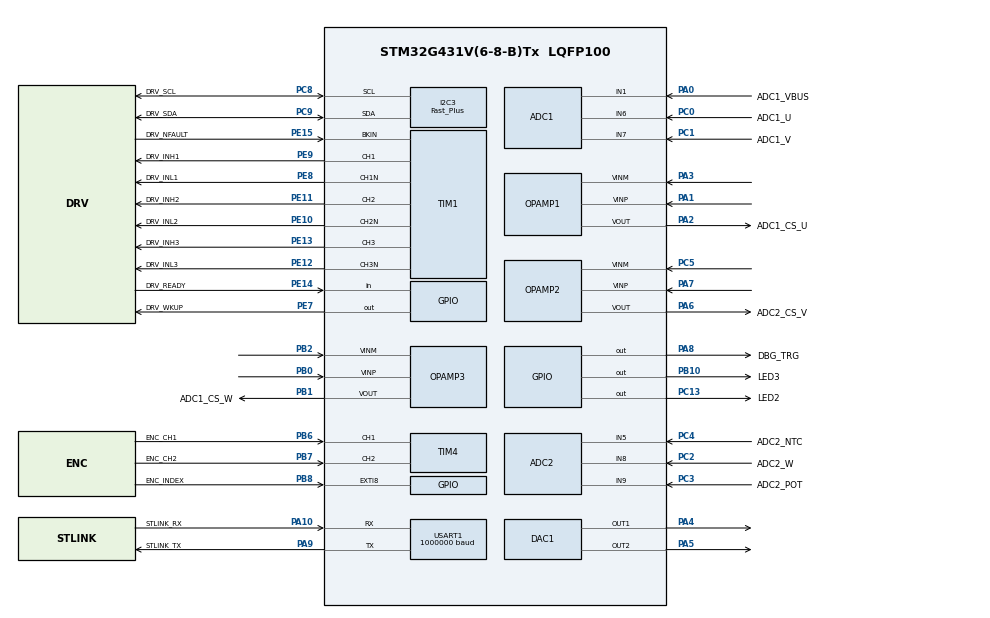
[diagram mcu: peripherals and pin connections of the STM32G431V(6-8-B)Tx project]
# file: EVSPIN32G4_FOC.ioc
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ADC1.AWD1ITMode=ENABLE
ADC1.Channel-0\#ChannelRegularConversion=ADC_CHANNEL_1
ADC1.Channel-1\#ChannelRegularConversion=ADC_CHANNEL_6
ADC1.Channel-2\#ChannelRegularConversion=ADC_CHANNEL_7
ADC1.Channel-5\#ChannelRegularConversion=ADC_CHANNEL_VREFINT
ADC1.ContinuousConvMode=ENABLE
ADC1.EnableAnalogWatchDog1=true
ADC1.EnableInjectedConversion=ENABLE
ADC1.ExternalTrigInjecConv=ADC_EXTERNALTRIGINJEC_T1_CC4
ADC1.InjNumberOfConversion=2
ADC1.InjectedChannel-3\#ChannelInjectedConversion=ADC_CHANNEL_3
ADC1.InjectedChannel-4\#ChannelInjectedConversion=ADC_CHANNEL_12
ADC1.InjectedOffsetNumber-3\#ChannelInjectedConversion=ADC_OFFSET_NONE
ADC1.InjectedOffsetNumber-4\#ChannelInjectedConversion=ADC_OFFSET_NONE
ADC1.InjectedRank-3\#ChannelInjectedConversion=1
ADC1.InjectedRank-4\#ChannelInjectedConversion=2
ADC1.InjectedSamplingTime-3\#ChannelInjectedConversion=ADC_SAMPLETIME_24CYCLES_5
ADC1.InjectedSamplingTime-4\#ChannelInjectedConversion=ADC_SAMPLETIME_24CYCLES_5
ADC1.NbrOfConversion=4
ADC1.NbrOfConversionFlag=1
ADC1.OffsetNumber-0\#ChannelRegularConversion=ADC_OFFSET_NONE
ADC1.OffsetNumber-1\#ChannelRegularConversion=ADC_OFFSET_NONE
ADC1.OffsetNumber-2\#ChannelRegularConversion=ADC_OFFSET_NONE
ADC1.OffsetNumber-5\#ChannelRegularConversion=ADC_OFFSET_NONE
ADC1.Overrun=ADC_OVR_DATA_OVERWRITTEN
ADC1.Rank-0\#ChannelRegularConversion=1
ADC1.Rank-1\#ChannelRegularConversion=2
ADC1.Rank-2\#ChannelRegularConversion=3
ADC1.Rank-5\#ChannelRegularConversion=4
ADC1.SamplingTime-0\#ChannelRegularConversion=ADC_SAMPLETIME_24CYCLES_5
ADC1.SamplingTime-1\#ChannelRegularConversion=ADC_SAMPLETIME_24CYCLES_5
ADC1.SamplingTime-2\#ChannelRegularConversion=ADC_SAMPLETIME_24CYCLES_5
ADC1.SamplingTime-5\#ChannelRegularConversion=ADC_SAMPLETIME_247CYCLES_5
ADC1.WatchdogChannel=ADC_CHANNEL_1
ADC1.master=1
ADC2.Channel-0\#ChannelRegularConversion=ADC_CHANNEL_5
ADC2.Channel-1\#ChannelRegularConversion=ADC_CHANNEL_8
ADC2.Channel-2\#ChannelRegularConversion=ADC_CHANNEL_9
ADC2.ContinuousConvMode=ENABLE
ADC2.EnableInjectedConversion=ENABLE
ADC2.InjNumberOfConversion=1
ADC2.InjectedChannel-3\#ChannelInjectedConversion=ADC_CHANNEL_3
ADC2.InjectedOffsetNumber-3\#ChannelInjectedConversion=ADC_OFFSET_NONE
ADC2.InjectedRank-3\#ChannelInjectedConversion=1
ADC2.InjectedSamplingTime-3\#ChannelInjectedConversion=ADC_SAMPLETIME_24CYCLES_5
ADC2.NbrOfConversion=3
ADC2.NbrOfConversionFlag=1
ADC2.OffsetNumber-0\#ChannelRegularConversion=ADC_OFFSET_NONE
ADC2.OffsetNumber-1\#ChannelRegularConversion=ADC_OFFSET_NONE
ADC2.OffsetNumber-2\#ChannelRegularConversion=ADC_OFFSET_NONE
ADC2.Overrun=ADC_OVR_DATA_OVERWRITTEN
ADC2.Rank-0\#ChannelRegularConversion=1
ADC2.Rank-1\#ChannelRegularConversion=2
ADC2.Rank-2\#ChannelRegularConversion=3
ADC2.Rank1_Channel=ADC_CHANNEL_3
ADC2.SamplingTime-0\#ChannelRegularConversion=ADC_SAMPLETIME_24CYCLES_5
ADC2.SamplingTime-1\#ChannelRegularConversion=ADC_SAMPLETIME_24CYCLES_5
ADC2.SamplingTime-2\#ChannelRegularConversion=ADC_SAMPLETIME_24CYCLES_5
DAC1.DAC_Channel-DAC_OUT2=DAC_CHANNEL_2
DAC1.DAC_SignedFormat-DAC_OUT1=ENABLE
DAC1.DAC_SignedFormat-DAC_OUT2=ENABLE
DAC1.DAC_Trigger2_OUT1-DAC_OUT1=DAC_TRIGGER_NONE
DAC1.DAC_Trigger_OUT1-DAC_OUT1=DAC_TRIGGER_NONE
DAC1.DAC_Trigger_OUT2-DAC_OUT2=DAC_TRIGGER_NONE
Dma.ADC1.0.Direction=DMA_PERIPH_TO_MEMORY
Dma.ADC1.0.EventEnable=DISABLE
Dma.ADC1.0.Instance=DMA1_Channel1
Dma.ADC1.0.MemDataAlignment=DMA_MDATAALIGN_HALFWORD
Dma.ADC1.0.MemInc=DMA_MINC_ENABLE
Dma.ADC1.0.Mode=DMA_NORMAL
Dma.ADC1.0.PeriphDataAlignment=DMA_PDATAALIGN_HALFWORD
Dma.ADC1.0.PeriphInc=DMA_PINC_DISABLE
Dma.ADC1.0.Polarity=HAL_DMAMUX_REQ_GEN_RISING
Dma.ADC1.0.Priority=DMA_PRIORITY_LOW
Dma.ADC1.0.RequestNumber=1
Dma.ADC1.0.SignalID=NONE
Dma.ADC1.0.SyncEnable=DISABLE
Dma.ADC1.0.SyncPolarity=HAL_DMAMUX_SYNC_NO_EVENT
Dma.ADC1.0.SyncRequestNumber=1
Dma.ADC1.0.SyncSignalID=NONE
Dma.ADC2.1.Direction=DMA_PERIPH_TO_MEMORY
Dma.ADC2.1.EventEnable=DISABLE
Dma.ADC2.1.Instance=DMA1_Channel2
Dma.ADC2.1.MemDataAlignment=DMA_MDATAALIGN_HALFWORD
Dma.ADC2.1.MemInc=DMA_MINC_ENABLE
Dma.ADC2.1.Mode=DMA_NORMAL
Dma.ADC2.1.PeriphDataAlignment=DMA_PDATAALIGN_HALFWORD
Dma.ADC2.1.PeriphInc=DMA_PINC_DISABLE
Dma.ADC2.1.Polarity=HAL_DMAMUX_REQ_GEN_RISING
Dma.ADC2.1.Priority=DMA_PRIORITY_LOW
Dma.ADC2.1.RequestNumber=1
Dma.ADC2.1.SignalID=NONE
Dma.ADC2.1.SyncEnable=DISABLE
Dma.ADC2.1.SyncPolarity=HAL_DMAMUX_SYNC_NO_EVENT
Dma.ADC2.1.SyncRequestNumber=1
Dma.ADC2.1.SyncSignalID=NONE
Dma.Request0=ADC1
Dma.Request1=ADC2
Dma.Request2=TIM6_UP
Dma.Request3=TIM7_UP
Dma.TIM6_UP.2.Direction=DMA_MEMORY_TO_PERIPH
Dma.TIM6_UP.2.EventEnable=DISABLE
Dma.TIM6_UP.2.Instance=DMA1_Channel3
Dma.TIM6_UP.2.MemDataAlignment=DMA_MDATAALIGN_HALFWORD
Dma.TIM6_UP.2.MemInc=DMA_MINC_DISABLE
Dma.TIM6_UP.2.Mode=DMA_CIRCULAR
Dma.TIM6_UP.2.PeriphDataAlignment=DMA_PDATAALIGN_WORD
Dma.TIM6_UP.2.PeriphInc=DMA_PINC_DISABLE
Dma.TIM6_UP.2.Polarity=HAL_DMAMUX_REQ_GEN_RISING
Dma.TIM6_UP.2.Priority=DMA_PRIORITY_MEDIUM
Dma.TIM6_UP.2.RequestNumber=1
Dma.TIM6_UP.2.SignalID=NONE
Dma.TIM6_UP.2.SyncEnable=DISABLE
Dma.TIM6_UP.2.SyncPolarity=HAL_DMAMUX_SYNC_NO_EVENT
Dma.TIM6_UP.2.SyncRequestNumber=1
Dma.TIM6_UP.2.SyncSignalID=NONE
Dma.TIM7_UP.3.Direction=DMA_MEMORY_TO_PERIPH
Dma.TIM7_UP.3.EventEnable=DISABLE
Dma.TIM7_UP.3.Instance=DMA1_Channel4
Dma.TIM7_UP.3.MemDataAlignment=DMA_MDATAALIGN_HALFWORD
Dma.TIM7_UP.3.MemInc=DMA_MINC_DISABLE
Dma.TIM7_UP.3.Mode=DMA_CIRCULAR
Dma.TIM7_UP.3.PeriphDataAlignment=DMA_PDATAALIGN_WORD
Dma.TIM7_UP.3.PeriphInc=DMA_PINC_DISABLE
Dma.TIM7_UP.3.Polarity=HAL_DMAMUX_REQ_GEN_RISING
Dma.TIM7_UP.3.Priority=DMA_PRIORITY_MEDIUM
Dma.TIM7_UP.3.RequestNumber=1
Dma.TIM7_UP.3.SignalID=NONE
Dma.TIM7_UP.3.SyncEnable=DISABLE
Dma.TIM7_UP.3.SyncPolarity=HAL_DMAMUX_SYNC_NO_EVENT
Dma.TIM7_UP.3.SyncRequestNumber=1
Dma.TIM7_UP.3.SyncSignalID=NONE
I2C3.I2C_Speed_Mode=I2C_Fast_Plus
I2C3.Timing=0x00802172
Mcu.Family=STM32G4
Mcu.Name=STM32G431V(6-8-B)Tx
Mcu.Package=LQFP100
NVIC.DMA1_Channel1_IRQn=true\:0\:0\:false\:false\:true\:false\:true\:true
NVIC.DMA1_Channel2_IRQn=true\:0\:0\:false\:false\:true\:false\:true\:true
NVIC.DMA1_Channel3_IRQn=true\:0\:0\:false\:false\:true\:false\:true\:true
NVIC.DMA1_Channel4_IRQn=true\:0\:0\:false\:false\:true\:false\:true\:true
NVIC.PriorityGroup=NVIC_PRIORITYGROUP_4
PA0.GPIO_Label=ADC1_VBUS
PA0.Mode=IN1-Single-Ended
PA0.Signal=ADC1_IN1
PA1.Mode=Standalone
PA1.Signal=OPAMP1_VINP
PA10.GPIO_Label=STLINK_RX
PA10.Mode=Asynchronous
PA10.Signal=USART1_RX
PA13.GPIO_Label=DBG_SWDIO
PA13.Mode=Trace_Asynchronous_SW
PA13.Signal=SYS_JTMS-SWDIO
PA14.GPIO_Label=DBG_SWCLK
PA14.Mode=Trace_Asynchronous_SW
PA14.Signal=SYS_JTCK-SWCLK
PA2.GPIO_Label=ADC1_CS_U
PA2.Signal=SharedAnalog_PA2
PA3.Mode=Standalone
PA3.Signal=OPAMP1_VINM
PA4.Signal=COMP_DAC11_group
PA5.Signal=COMP_DAC12_group
PA6.GPIO_Label=ADC2_CS_V
PA6.Signal=SharedAnalog_PA6
PA7.Mode=Standalone
PA7.Signal=OPAMP2_VINP
PA8.GPIO_Label=DBG_TRG
PA8.GPIO_Speed=GPIO_SPEED_FREQ_VERY_HIGH
PA8.Signal=GPIO_Output
PA9.GPIO_Label=STLINK_TX
PA9.Mode=Asynchronous
PA9.Signal=USART1_TX
PB0.Mode=Standalone
PB0.Signal=OPAMP3_VINP
PB1.GPIO_Label=ADC1_CS_W
PB1.Signal=SharedAnalog_PB1
PB10.GPIO_Label=LED3
PB10.Signal=GPIO_Output
PB2.Mode=Standalone
PB2.Signal=OPAMP3_VINM
PB3.GPIO_Label=DBG_SWO
PB3.Mode=Trace_Asynchronous_SW
PB3.Signal=SYS_JTDO-SWO
PB6.GPIO_Label=ENC_CH1
PB6.Signal=S_TIM4_CH1
PB7.GPIO_Label=ENC_CH2
PB7.Signal=S_TIM4_CH2
PB8-BOOT0.GPIO_Label=ENC_INDEX
PB8-BOOT0.Signal=GPXTI8
PC0.GPIO_Label=ADC1_U
PC0.Mode=IN6-Single-Ended
PC0.Signal=ADC1_IN6
PC1.GPIO_Label=ADC1_V
PC1.Mode=IN7-Single-Ended
PC1.Signal=ADC1_IN7
PC13.GPIO_Label=LED2
PC13.Signal=GPIO_Output
PC2.GPIO_Label=ADC2_W
PC2.Mode=IN8-Single-Ended
PC2.Signal=ADC2_IN8
PC3.GPIO_Label=ADC2_POT
PC3.Mode=IN9-Single-Ended
PC3.Signal=ADC2_IN9
PC4.GPIO_Label=ADC2_NTC
PC4.Mode=IN5-Single-Ended
PC4.Signal=ADC2_IN5
PC5.Mode=Standalone
PC5.Signal=OPAMP2_VINM
PC8.GPIO_Label=DRV_SCL
PC8.Mode=I2C
PC8.Signal=I2C3_SCL
PC9.GPIO_Label=DRV_SDA
PC9.Mode=I2C
PC9.Signal=I2C3_SDA
PE10.GPIO_Label=DRV_INL2
PE10.Mode=PWM Generation2 CH2 CH2N
PE10.Signal=TIM1_CH2N
PE11.GPIO_Label=DRV_INH2
PE11.Signal=S_TIM1_CH2
PE12.GPIO_Label=DRV_INL3
PE12.Mode=PWM Generation3 CH3 CH3N
PE12.Signal=TIM1_CH3N
PE13.GPIO_Label=DRV_INH3
PE13.Signal=S_TIM1_CH3
PE14.GPIO_Label=DRV_READY
PE14.GPIO_PuPd=GPIO_PULLUP
PE14.Signal=GPIO_Input
PE15.GPIO_Label=DRV_NFAULT
PE15.GPIO_PuPd=GPIO_PULLUP
PE15.Mode=Activate-Break-Input
PE15.Signal=TIM1_BKIN
PE7.GPIO_Label=DRV_WKUP
PE7.PinState=GPIO_PIN_SET
PE7.Signal=GPIO_Output
PE8.GPIO_Label=DRV_INL1
PE8.Mode=PWM Generation1 CH1 CH1N
PE8.Signal=TIM1_CH1N
PE9.GPIO_Label=DRV_INH1
PE9.Signal=S_TIM1_CH1
PF0-OSC_IN.Mode=HSE-External-Oscillator
PF0-OSC_IN.Signal=RCC_OSC_IN
PF1-OSC_OUT.Mode=HSE-External-Oscillator
PF1-OSC_OUT.Signal=RCC_OSC_OUT
ProjectManager.HeapSize=0x200
ProjectManager.StackSize=0x400
ProjectManager.TargetToolchain=STM32CubeIDE
RCC.ADC12Freq_Value=170000000
RCC.AHBFreq_Value=170000000
RCC.APB1Freq_Value=170000000
RCC.APB1TimFreq_Value=170000000
RCC.APB2Freq_Value=170000000
RCC.APB2TimFreq_Value=170000000
RCC.CortexFreq_Value=170000000
RCC.EXTERNAL_CLOCK_VALUE=12288000
RCC.HCLKFreq_Value=170000000
RCC.HSE_VALUE=24000000
RCC.HSI48_VALUE=48000000
RCC.HSI_VALUE=16000000
RCC.LSE_VALUE=32768
RCC.PLLM=RCC_PLLM_DIV6
RCC.PLLN=85
RCC.PLLSourceVirtual=RCC_PLLSOURCE_HSE
RCC.SYSCLKFreq_VALUE=170000000
RCC.SYSCLKSource=RCC_SYSCLKSOURCE_PLLCLK
RCC.USBFreq_Value=170000000
RCC.VCOOutputFreq_Value=340000000
SH.COMP_DAC11_group.0=DAC1_OUT1,DAC_OUT1
SH.COMP_DAC12_group.0=DAC1_OUT2,DAC_OUT2
SH.S_TIM1_CH1.0=TIM1_CH1,PWM Generation1 CH1 CH1N
SH.S_TIM1_CH2.0=TIM1_CH2,PWM Generation2 CH2 CH2N
SH.S_TIM1_CH3.0=TIM1_CH3,PWM Generation3 CH3 CH3N
SH.S_TIM4_CH1.0=TIM4_CH1,Encoder_Interface
SH.S_TIM4_CH2.0=TIM4_CH2,Encoder_Interface
SH.SharedAnalog_PA2.0=OPAMP1_VOUT,Standalone
SH.SharedAnalog_PA2.1=ADC1_IN3,IN3-Single-Ended
SH.SharedAnalog_PA6.0=OPAMP2_VOUT,Standalone
SH.SharedAnalog_PA6.1=ADC2_IN3,IN3-Single-Ended
SH.SharedAnalog_PB1.0=OPAMP3_VOUT,Standalone
SH.SharedAnalog_PB1.1=ADC1_IN12,IN12-Single-Ended
TIM1.AutoReloadPreload=TIM_AUTORELOAD_PRELOAD_ENABLE
TIM1.Break2Polarity=TIM_BREAK2POLARITY_LOW
TIM1.BreakFilter=2
TIM1.BreakPolarity=TIM_BREAKPOLARITY_LOW
TIM1.Channel-PWM\ Generation1\ CH1\ CH1N=TIM_CHANNEL_1
TIM1.Channel-PWM\ Generation2\ CH2\ CH2N=TIM_CHANNEL_2
TIM1.Channel-PWM\ Generation3\ CH3\ CH3N=TIM_CHANNEL_3
TIM1.Channel-PWM\ Generation4\ No\ Output=TIM_CHANNEL_4
TIM1.CounterMode=TIM_COUNTERMODE_CENTERALIGNED1
TIM1.SourceBRKDigInput=TIM_BREAKINPUTSOURCE_DISABLE
TIM1.TIM_MasterOutputTrigger=TIM_TRGO_RESET
TIM6.PeriodNoDither=169
TIM6.Prescaler=0
TIM7.PeriodNoDither=169
TIM7.Prescaler=0
USART1.BaudRate=1000000
USART1.VirtualMode-Asynchronous=VM_ASYNC
VP_ADC1_Vref_Input.Mode=IN-Vrefint
VP_SYS_VS_DBSignals.Mode=DisableDeadBatterySignals
VP_TIM1_VS_no_output4.Mode=PWM Generation4 No Output
VP_TIM6_VS_ClockSourceINT.Mode=Enable_Timer
VP_TIM7_VS_ClockSourceINT.Mode=Enable_Timer
VP_WWDG_VS_WWDG.Mode=WWDG_Activate
WWDG.Counter=95
WWDG.EWIMode=WWDG_EWI_ENABLE
WWDG.Prescaler=WWDG_PRESCALER_1
WWDG.Window=64
board=custom

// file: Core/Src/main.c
/* USER CODE BEGIN Header */
/**
  ******************************************************************************
  * @file           : main.c
  * @brief          : Main program body
  ******************************************************************************
  * @attention
  *
  * Copyright (c) 2024 STMicroelectronics.
  * All rights reserved.
  *
  * This software is licensed under terms that can be found in the LICENSE file
  * in the root directory of this software component.
  * If no LICENSE file comes with this software, it is provided AS-IS.
  *
  ******************************************************************************
  */
/* USER CODE END Header */
#include "main.h"

/* USER CODE BEGIN Includes */
#include <stdbool.h>
#include "foc_motorcontrol.h"

#include "swo_debug.h"
/* USER CODE END Includes */

ADC_HandleTypeDef hadc1;
ADC_HandleTypeDef hadc2;
DMA_HandleTypeDef hdma_adc1;
DMA_HandleTypeDef hdma_adc2;

DAC_HandleTypeDef hdac1;

I2C_HandleTypeDef hi2c3;

OPAMP_HandleTypeDef hopamp1;
OPAMP_HandleTypeDef hopamp2;
OPAMP_HandleTypeDef hopamp3;

TIM_HandleTypeDef htim6;
TIM_HandleTypeDef htim7;
DMA_HandleTypeDef hdma_tim6_up;
DMA_HandleTypeDef hdma_tim7_up;

UART_HandleTypeDef huart1;

/* USER CODE BEGIN PV */
Board_Settings_t evspin = {0};

bool start = false, stop = false;
/* USER CODE END PV */

void SystemClock_Config(void);
static void MX_GPIO_Init(void);
static void MX_DMA_Init(void);
static void MX_I2C3_Init(void);
static void MX_TIM1_Init(void);
static void MX_USART1_UART_Init(void);
static void MX_ADC1_Init(void);
static void MX_ADC2_Init(void);
static void MX_OPAMP1_Init(void);
static void MX_OPAMP2_Init(void);
static void MX_OPAMP3_Init(void);
static void MX_TIM4_Init(void);
static void MX_DAC1_Init(void);
static void MX_TIM6_Init(void);
static void MX_TIM7_Init(void);

/* USER CODE BEGIN 0 */

//#include "dsp/controller_functions.h"
/* USER CODE END 0 */

int main(void)
{

  /* MCU Configuration--------------------------------------------------------*/

  /* Reset of all peripherals, Initializes the Flash interface and the Systick. */
  HAL_Init();

  /* Configure the system clock */
  SystemClock_Config();

  /* Initialize all configured peripherals */
  MX_GPIO_Init();
  MX_DMA_Init();
  MX_I2C3_Init();
  MX_TIM1_Init();
  MX_USART1_UART_Init();
  MX_ADC1_Init();
  MX_ADC2_Init();
  MX_OPAMP1_Init();
  MX_OPAMP2_Init();
  MX_OPAMP3_Init();
  MX_TIM4_Init();
  MX_DAC1_Init();
  MX_TIM6_Init();
  MX_TIM7_Init();
  /* USER CODE BEGIN 2 */
  DEBUG_print("--- SWO init\r\n");
  HAL_GPIO_WritePin(LED2_GPIO_Port, LED2_Pin, GPIO_PIN_SET);
  DEBUG_print("STSPIN32G4 initialized!\r\n");

  // init board
  EVSPIN32G4_AssignADCs(&hadc1, &hdma_adc1, &hadc2, &hdma_adc2);
  EVSPIN32G4_AssignOPAMPs(&hopamp1, &hopamp2, &hopamp3);
  EVSPIN32G4_Init();

  // DEBUG DAC settings
  HAL_DAC_Start(&hdac1, DAC_CHANNEL_1);
  HAL_DAC_Start(&hdac1, DAC_CHANNEL_2);
  HAL_DMA_Start(&hdma_tim6_up, (uint32_t)&(evspin.dbg.dac1), (uint32_t)&DAC1->DHR12R1, 1);
  HAL_DMA_Start(&hdma_tim7_up, (uint32_t)&(evspin.dbg.dac2), (uint32_t)&DAC1->DHR12R2, 1);
  __HAL_TIM_ENABLE_DMA(&htim6, TIM_DMA_UPDATE);
  __HAL_TIM_ENABLE_DMA(&htim7, TIM_DMA_UPDATE);
  HAL_TIM_Base_Start(&htim6);
  HAL_TIM_Base_Start(&htim7);

  /* USER CODE END 2 */

  /* Infinite loop */
  /* USER CODE BEGIN WHILE */
  while (1)
  {
    if(start == true && (evspin.state == STATE_IDLE || evspin.state == STATE_ERROR)) {
      start = false;

      FOC_Start();
    }

    if(stop == true) {
      stop = false;

      FOC_Stop();
    }
    /* USER CODE END WHILE */

  }
}

void SystemClock_Config(void)
{
  LL_FLASH_SetLatency(LL_FLASH_LATENCY_4);
  while(LL_FLASH_GetLatency() != LL_FLASH_LATENCY_4)
  {
  }
  LL_PWR_EnableRange1BoostMode();
  LL_RCC_HSE_Enable();
   /* Wait till HSE is ready */
  while(LL_RCC_HSE_IsReady() != 1)
  {
  }

  LL_RCC_PLL_ConfigDomain_SYS(LL_RCC_PLLSOURCE_HSE, LL_RCC_PLLM_DIV_6, 85, LL_RCC_PLLR_DIV_2);
  LL_RCC_PLL_EnableDomain_SYS();
  LL_RCC_PLL_Enable();
   /* Wait till PLL is ready */
  while(LL_RCC_PLL_IsReady() != 1)
  {
  }

  LL_RCC_SetSysClkSource(LL_RCC_SYS_CLKSOURCE_PLL);
  LL_RCC_SetAHBPrescaler(LL_RCC_SYSCLK_DIV_2);
   /* Wait till System clock is ready */
  while(LL_RCC_GetSysClkSource() != LL_RCC_SYS_CLKSOURCE_STATUS_PLL)
  {
  }

  /* Insure 1us transition state at intermediate medium speed clock*/
  for (__IO uint32_t i = (170 >> 1); i !=0; i--);

  /* Set AHB prescaler*/
  LL_RCC_SetAHBPrescaler(LL_RCC_SYSCLK_DIV_1);
  LL_RCC_SetAPB1Prescaler(LL_RCC_APB1_DIV_1);
  LL_RCC_SetAPB2Prescaler(LL_RCC_APB2_DIV_1);
  LL_SetSystemCoreClock(170000000);

   /* Update the time base */
  if (HAL_InitTick (TICK_INT_PRIORITY) != HAL_OK)
  {
    Error_Handler();
  }
}

static void MX_ADC1_Init(void)
{

  ADC_MultiModeTypeDef multimode = {0};
  ADC_AnalogWDGConfTypeDef AnalogWDGConfig = {0};
  ADC_ChannelConfTypeDef sConfig = {0};
  ADC_InjectionConfTypeDef sConfigInjected = {0};

  /** Common config
  */
  hadc1.Instance = ADC1;
  hadc1.Init.ClockPrescaler = ADC_CLOCK_SYNC_PCLK_DIV4;
  hadc1.Init.Resolution = ADC_RESOLUTION_12B;
  hadc1.Init.DataAlign = ADC_DATAALIGN_RIGHT;
  hadc1.Init.GainCompensation = 0;
  hadc1.Init.ScanConvMode = ADC_SCAN_ENABLE;
  hadc1.Init.EOCSelection = ADC_EOC_SINGLE_CONV;
  hadc1.Init.LowPowerAutoWait = DISABLE;
  hadc1.Init.ContinuousConvMode = ENABLE;
  hadc1.Init.NbrOfConversion = 4;
  hadc1.Init.DiscontinuousConvMode = DISABLE;
  hadc1.Init.ExternalTrigConv = ADC_SOFTWARE_START;
  hadc1.Init.ExternalTrigConvEdge = ADC_EXTERNALTRIGCONVEDGE_NONE;
  hadc1.Init.DMAContinuousRequests = DISABLE;
  hadc1.Init.Overrun = ADC_OVR_DATA_OVERWRITTEN;
  hadc1.Init.OversamplingMode = DISABLE;
  if (HAL_ADC_Init(&hadc1) != HAL_OK)
  {
    Error_Handler();
  }

  /** Configure the ADC multi-mode
  */
  multimode.Mode = ADC_MODE_INDEPENDENT;
  if (HAL_ADCEx_MultiModeConfigChannel(&hadc1, &multimode) != HAL_OK)
  {
    Error_Handler();
  }

  /** Configure Analog WatchDog 1
  */
  AnalogWDGConfig.WatchdogNumber = ADC_ANALOGWATCHDOG_1;
  AnalogWDGConfig.WatchdogMode = ADC_ANALOGWATCHDOG_SINGLE_REG;
  AnalogWDGConfig.Channel = ADC_CHANNEL_1;
  AnalogWDGConfig.ITMode = ENABLE;
  AnalogWDGConfig.HighThreshold = 0;
  AnalogWDGConfig.LowThreshold = 0;
  AnalogWDGConfig.FilteringConfig = ADC_AWD_FILTERING_NONE;
  if (HAL_ADC_AnalogWDGConfig(&hadc1, &AnalogWDGConfig) != HAL_OK)
  {
    Error_Handler();
  }

  /** Configure Regular Channel
  */
  sConfig.Channel = ADC_CHANNEL_1;
  sConfig.Rank = ADC_REGULAR_RANK_1;
  sConfig.SamplingTime = ADC_SAMPLETIME_24CYCLES_5;
  sConfig.SingleDiff = ADC_SINGLE_ENDED;
  sConfig.OffsetNumber = ADC_OFFSET_NONE;
  sConfig.Offset = 0;
  if (HAL_ADC_ConfigChannel(&hadc1, &sConfig) != HAL_OK)
  {
    Error_Handler();
  }

  /** Configure Regular Channel
  */
  sConfig.Channel = ADC_CHANNEL_6;
  sConfig.Rank = ADC_REGULAR_RANK_2;
  if (HAL_ADC_ConfigChannel(&hadc1, &sConfig) != HAL_OK)
  {
    Error_Handler();
  }

  /** Configure Regular Channel
  */
  sConfig.Channel = ADC_CHANNEL_7;
  sConfig.Rank = ADC_REGULAR_RANK_3;
  if (HAL_ADC_ConfigChannel(&hadc1, &sConfig) != HAL_OK)
  {
    Error_Handler();
  }

  /** Configure Regular Channel
  */
  sConfig.Channel = ADC_CHANNEL_VREFINT;
  sConfig.Rank = ADC_REGULAR_RANK_4;
  sConfig.SamplingTime = ADC_SAMPLETIME_247CYCLES_5;
  if (HAL_ADC_ConfigChannel(&hadc1, &sConfig) != HAL_OK)
  {
    Error_Handler();
  }

  /** Configure Injected Channel
  */
  sConfigInjected.InjectedChannel = ADC_CHANNEL_3;
  sConfigInjected.InjectedRank = ADC_INJECTED_RANK_1;
  sConfigInjected.InjectedSamplingTime = ADC_SAMPLETIME_24CYCLES_5;
  sConfigInjected.InjectedSingleDiff = ADC_SINGLE_ENDED;
  sConfigInjected.InjectedOffsetNumber = ADC_OFFSET_NONE;
  sConfigInjected.InjectedOffset = 0;
  sConfigInjected.InjectedNbrOfConversion = 2;
  sConfigInjected.InjectedDiscontinuousConvMode = DISABLE;
  sConfigInjected.AutoInjectedConv = DISABLE;
  sConfigInjected.QueueInjectedContext = DISABLE;
  sConfigInjected.ExternalTrigInjecConv = ADC_EXTERNALTRIGINJEC_T1_CC4;
  sConfigInjected.ExternalTrigInjecConvEdge = ADC_EXTERNALTRIGINJECCONV_EDGE_RISING;
  sConfigInjected.InjecOversamplingMode = DISABLE;
  if (HAL_ADCEx_InjectedConfigChannel(&hadc1, &sConfigInjected) != HAL_OK)
  {
    Error_Handler();
  }

  /** Configure Injected Channel
  */
  sConfigInjected.InjectedChannel = ADC_CHANNEL_12;
  sConfigInjected.InjectedRank = ADC_INJECTED_RANK_2;
  if (HAL_ADCEx_InjectedConfigChannel(&hadc1, &sConfigInjected) != HAL_OK)
  {
    Error_Handler();
  }

}

static void MX_ADC2_Init(void)
{

  ADC_ChannelConfTypeDef sConfig = {0};
  ADC_InjectionConfTypeDef sConfigInjected = {0};

  /** Common config
  */
  hadc2.Instance = ADC2;
  hadc2.Init.ClockPrescaler = ADC_CLOCK_SYNC_PCLK_DIV4;
  hadc2.Init.Resolution = ADC_RESOLUTION_12B;
  hadc2.Init.DataAlign = ADC_DATAALIGN_RIGHT;
  hadc2.Init.GainCompensation = 0;
  hadc2.Init.ScanConvMode = ADC_SCAN_ENABLE;
  hadc2.Init.EOCSelection = ADC_EOC_SINGLE_CONV;
  hadc2.Init.LowPowerAutoWait = DISABLE;
  hadc2.Init.ContinuousConvMode = ENABLE;
  hadc2.Init.NbrOfConversion = 3;
  hadc2.Init.DiscontinuousConvMode = DISABLE;
  hadc2.Init.ExternalTrigConv = ADC_SOFTWARE_START;
  hadc2.Init.ExternalTrigConvEdge = ADC_EXTERNALTRIGCONVEDGE_NONE;
  hadc2.Init.DMAContinuousRequests = DISABLE;
  hadc2.Init.Overrun = ADC_OVR_DATA_OVERWRITTEN;
  hadc2.Init.OversamplingMode = DISABLE;
  if (HAL_ADC_Init(&hadc2) != HAL_OK)
  {
    Error_Handler();
  }

  /** Configure Regular Channel
  */
  sConfig.Channel = ADC_CHANNEL_5;
  sConfig.Rank = ADC_REGULAR_RANK_1;
  sConfig.SamplingTime = ADC_SAMPLETIME_24CYCLES_5;
  sConfig.SingleDiff = ADC_SINGLE_ENDED;
  sConfig.OffsetNumber = ADC_OFFSET_NONE;
  sConfig.Offset = 0;
  if (HAL_ADC_ConfigChannel(&hadc2, &sConfig) != HAL_OK)
  {
    Error_Handler();
  }

  /** Configure Regular Channel
  */
  sConfig.Channel = ADC_CHANNEL_8;
  sConfig.Rank = ADC_REGULAR_RANK_2;
  if (HAL_ADC_ConfigChannel(&hadc2, &sConfig) != HAL_OK)
  {
    Error_Handler();
  }

  /** Configure Regular Channel
  */
  sConfig.Channel = ADC_CHANNEL_9;
  sConfig.Rank = ADC_REGULAR_RANK_3;
  if (HAL_ADC_ConfigChannel(&hadc2, &sConfig) != HAL_OK)
  {
    Error_Handler();
  }

  /** Configure Injected Channel
  */
  sConfigInjected.InjectedChannel = ADC_CHANNEL_3;
  sConfigInjected.InjectedRank = ADC_INJECTED_RANK_1;
  sConfigInjected.InjectedSamplingTime = ADC_SAMPLETIME_24CYCLES_5;
  sConfigInjected.InjectedSingleDiff = ADC_SINGLE_ENDED;
  sConfigInjected.InjectedOffsetNumber = ADC_OFFSET_NONE;
  sConfigInjected.InjectedOffset = 0;
  sConfigInjected.InjectedNbrOfConversion = 1;
  sConfigInjected.InjectedDiscontinuousConvMode = DISABLE;
  sConfigInjected.AutoInjectedConv = DISABLE;
  sConfigInjected.QueueInjectedContext = DISABLE;
  sConfigInjected.ExternalTrigInjecConv = ADC_INJECTED_SOFTWARE_START;
  sConfigInjected.ExternalTrigInjecConvEdge = ADC_EXTERNALTRIGINJECCONV_EDGE_NONE;
  sConfigInjected.InjecOversamplingMode = DISABLE;
  if (HAL_ADCEx_InjectedConfigChannel(&hadc2, &sConfigInjected) != HAL_OK)
  {
    Error_Handler();
  }

}

static void MX_DAC1_Init(void)
{

  DAC_ChannelConfTypeDef sConfig = {0};

  /** DAC Initialization
  */
  hdac1.Instance = DAC1;
  if (HAL_DAC_Init(&hdac1) != HAL_OK)
  {
    Error_Handler();
  }

  /** DAC channel OUT1 config
  */
  sConfig.DAC_HighFrequency = DAC_HIGH_FREQUENCY_INTERFACE_MODE_AUTOMATIC;
  sConfig.DAC_DMADoubleDataMode = DISABLE;
  sConfig.DAC_SignedFormat = ENABLE;
  sConfig.DAC_SampleAndHold = DAC_SAMPLEANDHOLD_DISABLE;
  sConfig.DAC_Trigger = DAC_TRIGGER_NONE;
  sConfig.DAC_Trigger2 = DAC_TRIGGER_NONE;
  sConfig.DAC_OutputBuffer = DAC_OUTPUTBUFFER_ENABLE;
  sConfig.DAC_ConnectOnChipPeripheral = DAC_CHIPCONNECT_EXTERNAL;
  sConfig.DAC_UserTrimming = DAC_TRIMMING_FACTORY;
  if (HAL_DAC_ConfigChannel(&hdac1, &sConfig, DAC_CHANNEL_1) != HAL_OK)
  {
    Error_Handler();
  }

  /** DAC channel OUT2 config
  */
  if (HAL_DAC_ConfigChannel(&hdac1, &sConfig, DAC_CHANNEL_2) != HAL_OK)
  {
    Error_Handler();
  }

}

static void MX_I2C3_Init(void)
{

  hi2c3.Instance = I2C3;
  hi2c3.Init.Timing = 0x00802172;
  hi2c3.Init.OwnAddress1 = 0;
  hi2c3.Init.AddressingMode = I2C_ADDRESSINGMODE_7BIT;
  hi2c3.Init.DualAddressMode = I2C_DUALADDRESS_DISABLE;
  hi2c3.Init.OwnAddress2 = 0;
  hi2c3.Init.OwnAddress2Masks = I2C_OA2_NOMASK;
  hi2c3.Init.GeneralCallMode = I2C_GENERALCALL_DISABLE;
  hi2c3.Init.NoStretchMode = I2C_NOSTRETCH_DISABLE;
  if (HAL_I2C_Init(&hi2c3) != HAL_OK)
  {
    Error_Handler();
  }

  /** Configure Analogue filter
  */
  if (HAL_I2CEx_ConfigAnalogFilter(&hi2c3, I2C_ANALOGFILTER_ENABLE) != HAL_OK)
  {
    Error_Handler();
  }

  /** Configure Digital filter
  */
  if (HAL_I2CEx_ConfigDigitalFilter(&hi2c3, 0) != HAL_OK)
  {
    Error_Handler();
  }

  /** I2C Fast mode Plus enable
  */
  __HAL_SYSCFG_FASTMODEPLUS_ENABLE(I2C_FASTMODEPLUS_I2C3);

}

static void MX_OPAMP1_Init(void)
{

  hopamp1.Instance = OPAMP1;
  hopamp1.Init.PowerMode = OPAMP_POWERMODE_NORMALSPEED;
  hopamp1.Init.Mode = OPAMP_STANDALONE_MODE;
  hopamp1.Init.InvertingInput = OPAMP_INVERTINGINPUT_IO0;
  hopamp1.Init.NonInvertingInput = OPAMP_NONINVERTINGINPUT_IO0;
  hopamp1.Init.InternalOutput = DISABLE;
  hopamp1.Init.TimerControlledMuxmode = OPAMP_TIMERCONTROLLEDMUXMODE_DISABLE;
  hopamp1.Init.UserTrimming = OPAMP_TRIMMING_FACTORY;
  if (HAL_OPAMP_Init(&hopamp1) != HAL_OK)
  {
    Error_Handler();
  }

}

static void MX_OPAMP2_Init(void)
{

  hopamp2.Instance = OPAMP2;
  hopamp2.Init.PowerMode = OPAMP_POWERMODE_NORMALSPEED;
  hopamp2.Init.Mode = OPAMP_STANDALONE_MODE;
  hopamp2.Init.InvertingInput = OPAMP_INVERTINGINPUT_IO1;
  hopamp2.Init.NonInvertingInput = OPAMP_NONINVERTINGINPUT_IO0;
  hopamp2.Init.InternalOutput = DISABLE;
  hopamp2.Init.TimerControlledMuxmode = OPAMP_TIMERCONTROLLEDMUXMODE_DISABLE;
  hopamp2.Init.UserTrimming = OPAMP_TRIMMING_FACTORY;
  if (HAL_OPAMP_Init(&hopamp2) != HAL_OK)
  {
    Error_Handler();
  }

}

static void MX_OPAMP3_Init(void)
{

  hopamp3.Instance = OPAMP3;
  hopamp3.Init.PowerMode = OPAMP_POWERMODE_NORMALSPEED;
  hopamp3.Init.Mode = OPAMP_STANDALONE_MODE;
  hopamp3.Init.InvertingInput = OPAMP_INVERTINGINPUT_IO0;
  hopamp3.Init.NonInvertingInput = OPAMP_NONINVERTINGINPUT_IO0;
  hopamp3.Init.InternalOutput = DISABLE;
  hopamp3.Init.TimerControlledMuxmode = OPAMP_TIMERCONTROLLEDMUXMODE_DISABLE;
  hopamp3.Init.UserTrimming = OPAMP_TRIMMING_FACTORY;
  if (HAL_OPAMP_Init(&hopamp3) != HAL_OK)
  {
    Error_Handler();
  }

}

static void MX_TIM1_Init(void)
{

  LL_TIM_InitTypeDef TIM_InitStruct = {0};
  LL_TIM_OC_InitTypeDef TIM_OC_InitStruct = {0};
  LL_TIM_BDTR_InitTypeDef TIM_BDTRInitStruct = {0};

  LL_GPIO_InitTypeDef GPIO_InitStruct = {0};

  /* Peripheral clock enable */
  LL_APB2_GRP1_EnableClock(LL_APB2_GRP1_PERIPH_TIM1);

  LL_AHB2_GRP1_EnableClock(LL_AHB2_GRP1_PERIPH_GPIOE);
  /**TIM1 GPIO Configuration
  PE15   ------> TIM1_BKIN
  */
  GPIO_InitStruct.Pin = LL_GPIO_PIN_15;
  GPIO_InitStruct.Mode = LL_GPIO_MODE_ALTERNATE;
  GPIO_InitStruct.Speed = LL_GPIO_SPEED_FREQ_LOW;
  GPIO_InitStruct.OutputType = LL_GPIO_OUTPUT_OPENDRAIN;
  GPIO_InitStruct.Pull = LL_GPIO_PULL_UP;
  GPIO_InitStruct.Alternate = LL_GPIO_AF_2;
  LL_GPIO_Init(GPIOE, &GPIO_InitStruct);

  TIM_InitStruct.Prescaler = 0;
  TIM_InitStruct.CounterMode = LL_TIM_COUNTERMODE_CENTER_DOWN;
  TIM_InitStruct.Autoreload = 65535;
  TIM_InitStruct.ClockDivision = LL_TIM_CLOCKDIVISION_DIV1;
  TIM_InitStruct.RepetitionCounter = 0;
  LL_TIM_Init(TIM1, &TIM_InitStruct);
  LL_TIM_EnableARRPreload(TIM1);
  LL_TIM_OC_EnablePreload(TIM1, LL_TIM_CHANNEL_CH1);
  TIM_OC_InitStruct.OCMode = LL_TIM_OCMODE_PWM1;
  TIM_OC_InitStruct.OCState = LL_TIM_OCSTATE_DISABLE;
  TIM_OC_InitStruct.OCNState = LL_TIM_OCSTATE_DISABLE;
  TIM_OC_InitStruct.CompareValue = 0;
  TIM_OC_InitStruct.OCPolarity = LL_TIM_OCPOLARITY_HIGH;
  TIM_OC_InitStruct.OCNPolarity = LL_TIM_OCPOLARITY_HIGH;
  TIM_OC_InitStruct.OCIdleState = LL_TIM_OCIDLESTATE_LOW;
  TIM_OC_InitStruct.OCNIdleState = LL_TIM_OCIDLESTATE_LOW;
  LL_TIM_OC_Init(TIM1, LL_TIM_CHANNEL_CH1, &TIM_OC_InitStruct);
  LL_TIM_OC_DisableFast(TIM1, LL_TIM_CHANNEL_CH1);
  LL_TIM_OC_EnablePreload(TIM1, LL_TIM_CHANNEL_CH2);
  LL_TIM_OC_Init(TIM1, LL_TIM_CHANNEL_CH2, &TIM_OC_InitStruct);
  LL_TIM_OC_DisableFast(TIM1, LL_TIM_CHANNEL_CH2);
  LL_TIM_OC_EnablePreload(TIM1, LL_TIM_CHANNEL_CH3);
  LL_TIM_OC_Init(TIM1, LL_TIM_CHANNEL_CH3, &TIM_OC_InitStruct);
  LL_TIM_OC_DisableFast(TIM1, LL_TIM_CHANNEL_CH3);
  LL_TIM_OC_EnablePreload(TIM1, LL_TIM_CHANNEL_CH4);
  LL_TIM_OC_Init(TIM1, LL_TIM_CHANNEL_CH4, &TIM_OC_InitStruct);
  LL_TIM_OC_DisableFast(TIM1, LL_TIM_CHANNEL_CH4);
  LL_TIM_SetTriggerOutput(TIM1, LL_TIM_TRGO_RESET);
  LL_TIM_SetTriggerOutput2(TIM1, LL_TIM_TRGO2_RESET);
  LL_TIM_DisableMasterSlaveMode(TIM1);
  TIM_BDTRInitStruct.OSSRState = LL_TIM_OSSR_DISABLE;
  TIM_BDTRInitStruct.OSSIState = LL_TIM_OSSI_DISABLE;
  TIM_BDTRInitStruct.LockLevel = LL_TIM_LOCKLEVEL_OFF;
  TIM_BDTRInitStruct.DeadTime = 0;
  TIM_BDTRInitStruct.BreakState = LL_TIM_BREAK_ENABLE;
  TIM_BDTRInitStruct.BreakPolarity = LL_TIM_BREAK_POLARITY_LOW;
  TIM_BDTRInitStruct.BreakFilter = LL_TIM_BREAK_FILTER_FDIV1_N4;
  TIM_BDTRInitStruct.BreakAFMode = LL_TIM_BREAK_AFMODE_INPUT;
  TIM_BDTRInitStruct.Break2State = LL_TIM_BREAK2_DISABLE;
  TIM_BDTRInitStruct.Break2Polarity = LL_TIM_BREAK2_POLARITY_LOW;
  TIM_BDTRInitStruct.Break2Filter = LL_TIM_BREAK2_FILTER_FDIV1;
  TIM_BDTRInitStruct.Break2AFMode = LL_TIM_BREAK_AFMODE_INPUT;
  TIM_BDTRInitStruct.AutomaticOutput = LL_TIM_AUTOMATICOUTPUT_DISABLE;
  LL_TIM_BDTR_Init(TIM1, &TIM_BDTRInitStruct);
  LL_AHB2_GRP1_EnableClock(LL_AHB2_GRP1_PERIPH_GPIOE);
  /**TIM1 GPIO Configuration
  PE8   ------> TIM1_CH1N
  PE9   ------> TIM1_CH1
  PE10   ------> TIM1_CH2N
  PE11   ------> TIM1_CH2
  PE12   ------> TIM1_CH3N
  PE13   ------> TIM1_CH3
  */
  GPIO_InitStruct.Pin = LL_GPIO_PIN_8;
  GPIO_InitStruct.Mode = LL_GPIO_MODE_ALTERNATE;
  GPIO_InitStruct.Speed = LL_GPIO_SPEED_FREQ_LOW;
  GPIO_InitStruct.OutputType = LL_GPIO_OUTPUT_PUSHPULL;
  GPIO_InitStruct.Pull = LL_GPIO_PULL_NO;
  GPIO_InitStruct.Alternate = LL_GPIO_AF_2;
  LL_GPIO_Init(GPIOE, &GPIO_InitStruct);

  GPIO_InitStruct.Pin = LL_GPIO_PIN_9;
  GPIO_InitStruct.Mode = LL_GPIO_MODE_ALTERNATE;
  GPIO_InitStruct.Speed = LL_GPIO_SPEED_FREQ_LOW;
  GPIO_InitStruct.OutputType = LL_GPIO_OUTPUT_PUSHPULL;
  GPIO_InitStruct.Pull = LL_GPIO_PULL_NO;
  GPIO_InitStruct.Alternate = LL_GPIO_AF_2;
  LL_GPIO_Init(GPIOE, &GPIO_InitStruct);

  GPIO_InitStruct.Pin = LL_GPIO_PIN_10;
  GPIO_InitStruct.Mode = LL_GPIO_MODE_ALTERNATE;
  GPIO_InitStruct.Speed = LL_GPIO_SPEED_FREQ_LOW;
  GPIO_InitStruct.OutputType = LL_GPIO_OUTPUT_PUSHPULL;
  GPIO_InitStruct.Pull = LL_GPIO_PULL_NO;
  GPIO_InitStruct.Alternate = LL_GPIO_AF_2;
  LL_GPIO_Init(GPIOE, &GPIO_InitStruct);

  GPIO_InitStruct.Pin = LL_GPIO_PIN_11;
  GPIO_InitStruct.Mode = LL_GPIO_MODE_ALTERNATE;
  GPIO_InitStruct.Speed = LL_GPIO_SPEED_FREQ_LOW;
  GPIO_InitStruct.OutputType = LL_GPIO_OUTPUT_PUSHPULL;
  GPIO_InitStruct.Pull = LL_GPIO_PULL_NO;
  GPIO_InitStruct.Alternate = LL_GPIO_AF_2;
  LL_GPIO_Init(GPIOE, &GPIO_InitStruct);

  GPIO_InitStruct.Pin = LL_GPIO_PIN_12;
  GPIO_InitStruct.Mode = LL_GPIO_MODE_ALTERNATE;
  GPIO_InitStruct.Speed = LL_GPIO_SPEED_FREQ_LOW;
  GPIO_InitStruct.OutputType = LL_GPIO_OUTPUT_PUSHPULL;
  GPIO_InitStruct.Pull = LL_GPIO_PULL_NO;
  GPIO_InitStruct.Alternate = LL_GPIO_AF_2;
  LL_GPIO_Init(GPIOE, &GPIO_InitStruct);

  GPIO_InitStruct.Pin = LL_GPIO_PIN_13;
  GPIO_InitStruct.Mode = LL_GPIO_MODE_ALTERNATE;
  GPIO_InitStruct.Speed = LL_GPIO_SPEED_FREQ_LOW;
  GPIO_InitStruct.OutputType = LL_GPIO_OUTPUT_PUSHPULL;
  GPIO_InitStruct.Pull = LL_GPIO_PULL_NO;
  GPIO_InitStruct.Alternate = LL_GPIO_AF_2;
  LL_GPIO_Init(GPIOE, &GPIO_InitStruct);

}

static void MX_TIM4_Init(void)
{

  LL_TIM_InitTypeDef TIM_InitStruct = {0};

  LL_GPIO_InitTypeDef GPIO_InitStruct = {0};

  /* Peripheral clock enable */
  LL_APB1_GRP1_EnableClock(LL_APB1_GRP1_PERIPH_TIM4);

  LL_AHB2_GRP1_EnableClock(LL_AHB2_GRP1_PERIPH_GPIOB);
  /**TIM4 GPIO Configuration
  PB6   ------> TIM4_CH1
  PB7   ------> TIM4_CH2
  */
  GPIO_InitStruct.Pin = LL_GPIO_PIN_6;
  GPIO_InitStruct.Mode = LL_GPIO_MODE_ALTERNATE;
  GPIO_InitStruct.Speed = LL_GPIO_SPEED_FREQ_LOW;
  GPIO_InitStruct.OutputType = LL_GPIO_OUTPUT_PUSHPULL;
  GPIO_InitStruct.Pull = LL_GPIO_PULL_NO;
  GPIO_InitStruct.Alternate = LL_GPIO_AF_2;
  LL_GPIO_Init(GPIOB, &GPIO_InitStruct);

  GPIO_InitStruct.Pin = LL_GPIO_PIN_7;
  GPIO_InitStruct.Mode = LL_GPIO_MODE_ALTERNATE;
  GPIO_InitStruct.Speed = LL_GPIO_SPEED_FREQ_LOW;
  GPIO_InitStruct.OutputType = LL_GPIO_OUTPUT_PUSHPULL;
  GPIO_InitStruct.Pull = LL_GPIO_PULL_NO;
  GPIO_InitStruct.Alternate = LL_GPIO_AF_2;
  LL_GPIO_Init(GPIOB, &GPIO_InitStruct);

  TIM_InitStruct.Prescaler = 0;
  TIM_InitStruct.CounterMode = LL_TIM_COUNTERMODE_UP;
  TIM_InitStruct.Autoreload = 65535;
  TIM_InitStruct.ClockDivision = LL_TIM_CLOCKDIVISION_DIV1;
  LL_TIM_Init(TIM4, &TIM_InitStruct);
  LL_TIM_DisableARRPreload(TIM4);
  LL_TIM_SetEncoderMode(TIM4, LL_TIM_ENCODERMODE_X2_TI1);
  LL_TIM_IC_SetActiveInput(TIM4, LL_TIM_CHANNEL_CH1, LL_TIM_ACTIVEINPUT_DIRECTTI);
  LL_TIM_IC_SetPrescaler(TIM4, LL_TIM_CHANNEL_CH1, LL_TIM_ICPSC_DIV1);
  LL_TIM_IC_SetFilter(TIM4, LL_TIM_CHANNEL_CH1, LL_TIM_IC_FILTER_FDIV1);
  LL_TIM_IC_SetPolarity(TIM4, LL_TIM_CHANNEL_CH1, LL_TIM_IC_POLARITY_RISING);
  LL_TIM_IC_SetActiveInput(TIM4, LL_TIM_CHANNEL_CH2, LL_TIM_ACTIVEINPUT_DIRECTTI);
  LL_TIM_IC_SetPrescaler(TIM4, LL_TIM_CHANNEL_CH2, LL_TIM_ICPSC_DIV1);
  LL_TIM_IC_SetFilter(TIM4, LL_TIM_CHANNEL_CH2, LL_TIM_IC_FILTER_FDIV1);
  LL_TIM_IC_SetPolarity(TIM4, LL_TIM_CHANNEL_CH2, LL_TIM_IC_POLARITY_RISING);
  LL_TIM_SetTriggerOutput(TIM4, LL_TIM_TRGO_RESET);
  LL_TIM_DisableMasterSlaveMode(TIM4);

}

static void MX_TIM6_Init(void)
{

  TIM_MasterConfigTypeDef sMasterConfig = {0};

  htim6.Instance = TIM6;
  htim6.Init.Prescaler = 0;
  htim6.Init.CounterMode = TIM_COUNTERMODE_UP;
  htim6.Init.Period = 169;
  htim6.Init.AutoReloadPreload = TIM_AUTORELOAD_PRELOAD_DISABLE;
  if (HAL_TIM_Base_Init(&htim6) != HAL_OK)
  {
    Error_Handler();
  }
  sMasterConfig.MasterOutputTrigger = TIM_TRGO_RESET;
  sMasterConfig.MasterSlaveMode = TIM_MASTERSLAVEMODE_DISABLE;
  if (HAL_TIMEx_MasterConfigSynchronization(&htim6, &sMasterConfig) != HAL_OK)
  {
    Error_Handler();
  }

}

static void MX_TIM7_Init(void)
{

  TIM_MasterConfigTypeDef sMasterConfig = {0};

  htim7.Instance = TIM7;
  htim7.Init.Prescaler = 0;
  htim7.Init.CounterMode = TIM_COUNTERMODE_UP;
  htim7.Init.Period = 169;
  htim7.Init.AutoReloadPreload = TIM_AUTORELOAD_PRELOAD_DISABLE;
  if (HAL_TIM_Base_Init(&htim7) != HAL_OK)
  {
    Error_Handler();
  }
  sMasterConfig.MasterOutputTrigger = TIM_TRGO_RESET;
  sMasterConfig.MasterSlaveMode = TIM_MASTERSLAVEMODE_DISABLE;
  if (HAL_TIMEx_MasterConfigSynchronization(&htim7, &sMasterConfig) != HAL_OK)
  {
    Error_Handler();
  }

}

static void MX_USART1_UART_Init(void)
{

  huart1.Instance = USART1;
  huart1.Init.BaudRate = 1000000;
  huart1.Init.WordLength = UART_WORDLENGTH_8B;
  huart1.Init.StopBits = UART_STOPBITS_1;
  huart1.Init.Parity = UART_PARITY_NONE;
  huart1.Init.Mode = UART_MODE_TX_RX;
  huart1.Init.HwFlowCtl = UART_HWCONTROL_NONE;
  huart1.Init.OverSampling = UART_OVERSAMPLING_16;
  huart1.Init.OneBitSampling = UART_ONE_BIT_SAMPLE_DISABLE;
  huart1.Init.ClockPrescaler = UART_PRESCALER_DIV1;
  huart1.AdvancedInit.AdvFeatureInit = UART_ADVFEATURE_NO_INIT;
  if (HAL_UART_Init(&huart1) != HAL_OK)
  {
    Error_Handler();
  }
  if (HAL_UARTEx_SetTxFifoThreshold(&huart1, UART_TXFIFO_THRESHOLD_1_8) != HAL_OK)
  {
    Error_Handler();
  }
  if (HAL_UARTEx_SetRxFifoThreshold(&huart1, UART_RXFIFO_THRESHOLD_1_8) != HAL_OK)
  {
    Error_Handler();
  }
  if (HAL_UARTEx_DisableFifoMode(&huart1) != HAL_OK)
  {
    Error_Handler();
  }

}

static void MX_DMA_Init(void)
{

  /* DMA controller clock enable */
  __HAL_RCC_DMAMUX1_CLK_ENABLE();
  __HAL_RCC_DMA1_CLK_ENABLE();

  /* DMA interrupt init */
  /* DMA1_Channel1_IRQn interrupt configuration */
  HAL_NVIC_SetPriority(DMA1_Channel1_IRQn, 0, 0);
  HAL_NVIC_EnableIRQ(DMA1_Channel1_IRQn);
  /* DMA1_Channel2_IRQn interrupt configuration */
  HAL_NVIC_SetPriority(DMA1_Channel2_IRQn, 0, 0);
  HAL_NVIC_EnableIRQ(DMA1_Channel2_IRQn);
  /* DMA1_Channel3_IRQn interrupt configuration */
  HAL_NVIC_SetPriority(DMA1_Channel3_IRQn, 0, 0);
  HAL_NVIC_EnableIRQ(DMA1_Channel3_IRQn);
  /* DMA1_Channel4_IRQn interrupt configuration */
  HAL_NVIC_SetPriority(DMA1_Channel4_IRQn, 0, 0);
  HAL_NVIC_EnableIRQ(DMA1_Channel4_IRQn);

}

static void MX_GPIO_Init(void)
{
  GPIO_InitTypeDef GPIO_InitStruct = {0};

  /* GPIO Ports Clock Enable */
  __HAL_RCC_GPIOC_CLK_ENABLE();
  __HAL_RCC_GPIOF_CLK_ENABLE();
  __HAL_RCC_GPIOA_CLK_ENABLE();
  __HAL_RCC_GPIOB_CLK_ENABLE();
  __HAL_RCC_GPIOE_CLK_ENABLE();

  /*Configure GPIO pin Output Level */
  HAL_GPIO_WritePin(LED2_GPIO_Port, LED2_Pin, GPIO_PIN_RESET);

  /*Configure GPIO pin Output Level */
  HAL_GPIO_WritePin(DRV_WKUP_GPIO_Port, DRV_WKUP_Pin, GPIO_PIN_SET);

  /*Configure GPIO pin Output Level */
  HAL_GPIO_WritePin(LED3_GPIO_Port, LED3_Pin, GPIO_PIN_RESET);

  /*Configure GPIO pin Output Level */
  HAL_GPIO_WritePin(DBG_TRG_GPIO_Port, DBG_TRG_Pin, GPIO_PIN_RESET);

  /*Configure GPIO pin : LED2_Pin */
  GPIO_InitStruct.Pin = LED2_Pin;
  GPIO_InitStruct.Mode = GPIO_MODE_OUTPUT_PP;
  GPIO_InitStruct.Pull = GPIO_NOPULL;
  GPIO_InitStruct.Speed = GPIO_SPEED_FREQ_LOW;
  HAL_GPIO_Init(LED2_GPIO_Port, &GPIO_InitStruct);

  /*Configure GPIO pin : DRV_WKUP_Pin */
  GPIO_InitStruct.Pin = DRV_WKUP_Pin;
  GPIO_InitStruct.Mode = GPIO_MODE_OUTPUT_PP;
  GPIO_InitStruct.Pull = GPIO_NOPULL;
  GPIO_InitStruct.Speed = GPIO_SPEED_FREQ_LOW;
  HAL_GPIO_Init(DRV_WKUP_GPIO_Port, &GPIO_InitStruct);

  /*Configure GPIO pin : DRV_READY_Pin */
  GPIO_InitStruct.Pin = DRV_READY_Pin;
  GPIO_InitStruct.Mode = GPIO_MODE_INPUT;
  GPIO_InitStruct.Pull = GPIO_PULLUP;
  HAL_GPIO_Init(DRV_READY_GPIO_Port, &GPIO_InitStruct);

  /*Configure GPIO pin : LED3_Pin */
  GPIO_InitStruct.Pin = LED3_Pin;
  GPIO_InitStruct.Mode = GPIO_MODE_OUTPUT_PP;
  GPIO_InitStruct.Pull = GPIO_NOPULL;
  GPIO_InitStruct.Speed = GPIO_SPEED_FREQ_LOW;
  HAL_GPIO_Init(LED3_GPIO_Port, &GPIO_InitStruct);

  /*Configure GPIO pin : DBG_TRG_Pin */
  GPIO_InitStruct.Pin = DBG_TRG_Pin;
  GPIO_InitStruct.Mode = GPIO_MODE_OUTPUT_PP;
  GPIO_InitStruct.Pull = GPIO_NOPULL;
  GPIO_InitStruct.Speed = GPIO_SPEED_FREQ_VERY_HIGH;
  HAL_GPIO_Init(DBG_TRG_GPIO_Port, &GPIO_InitStruct);

  /*Configure GPIO pin : ENC_INDEX_Pin */
  GPIO_InitStruct.Pin = ENC_INDEX_Pin;
  GPIO_InitStruct.Mode = GPIO_MODE_IT_RISING;
  GPIO_InitStruct.Pull = GPIO_NOPULL;
  HAL_GPIO_Init(ENC_INDEX_GPIO_Port, &GPIO_InitStruct);

}

void Error_Handler(void)
{
  /* USER CODE BEGIN Error_Handler_Debug */
  /* User can add his own implementation to report the HAL error return state */
  __disable_irq();

  // TODO disable Timer outputs

  HAL_GPIO_WritePin(LED2_GPIO_Port, LED2_Pin, GPIO_PIN_RESET);
	HAL_GPIO_WritePin(LED3_GPIO_Port, LED3_Pin, GPIO_PIN_SET);

  while (1)
  {
    HAL_GPIO_TogglePin(LED2_GPIO_Port, LED2_Pin);
    HAL_GPIO_TogglePin(LED3_GPIO_Port, LED3_Pin);
    LL_mDelay(200);
  }
  /* USER CODE END Error_Handler_Debug */
}
